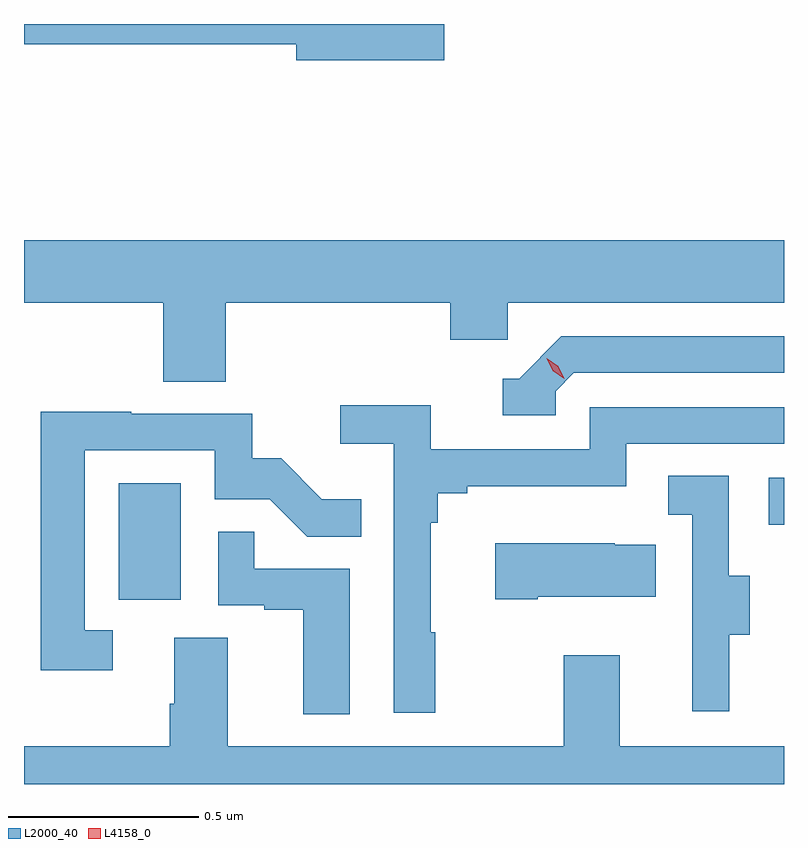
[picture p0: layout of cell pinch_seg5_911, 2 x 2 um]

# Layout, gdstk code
import gdstk
lib = gdstk.Library(unit=1e-6, precision=1e-09)
def R(c, l, rs):  # rectangles x0, y0, x1, y1
    for r in rs: c.add(gdstk.rectangle(r[:2], r[2:], *l))
def P(c, l, *ps):  # polygons
    for p in ps: c.add(gdstk.Polygon(p, *l))
L2000_40 = (2000, 40)
L4158_0 = (4158, 0)

pinch_seg5_911 = lib.new_cell('pinch_seg5_911')
R(pinch_seg5_911, L2000_40, [(881.714,878.622,881.878,878.929), (883.425,878.819,883.465,878.943)])
P(pinch_seg5_911, L2000_40, [(882.571,880.137),(881.465,880.137),(881.465,880.084),(882.182,880.084),(882.182,880.042),(882.571,880.042)],
  [(881.996,879.404),(882.587,879.404),(882.587,879.306),(882.738,879.306),(882.738,879.404),(883.465,879.404),(883.465,879.568),(881.465,879.568),(881.465,879.404),(881.831,879.404),(881.831,879.196),(881.996,879.196)],
  [(882.864,879.171),(882.912,879.219),(883.465,879.219),(883.465,879.315),(882.879,879.315),(882.768,879.204),(882.725,879.204),(882.725,879.108),(882.864,879.108)],
  [(882.547,878.537),(882.535,878.537),(882.535,878.825),(882.554,878.825),(882.554,878.902),(882.631,878.902),(882.631,878.921),(883.05,878.921),(883.05,879.033),(883.465,879.033),(883.465,879.129),(882.954,879.129),(882.954,879.018),(882.536,879.018),(882.536,879.134),(882.297,879.134),(882.297,879.032),(882.438,879.032),(882.438,878.325),(882.547,878.325)],
  [(881.698,878.541),(881.625,878.541),(881.625,879.015),(881.967,879.015),(881.967,878.886),(882.112,878.886),(882.21,878.788),(882.353,878.788),(882.353,878.887),(882.249,878.887),(882.142,878.994),(882.066,878.994),(882.066,879.111),(881.747,879.111),(881.747,879.116),(881.509,879.116),(881.509,878.436),(881.698,878.436)],
  [(883.321,878.53),(883.375,878.53),(883.375,878.685),(883.32,878.685),(883.32,878.948),(883.161,878.948),(883.161,878.845),(883.224,878.845),(883.224,878.541),(883.223,878.541),(883.223,878.328),(883.321,878.328)],
  [(882.322,878.703),(882.071,878.703),(882.071,878.801),(881.976,878.801),(881.976,878.607),(882.097,878.607),(882.097,878.595),(882.2,878.595),(882.2,878.321),(882.322,878.321)],
  [(882.817,878.63),(883.127,878.63),(883.127,878.767),(883.019,878.767),(883.019,878.77),(882.705,878.77),(882.705,878.623),(882.817,878.623)],
  [(883.465,878.236),(883.033,878.236),(883.033,878.476),(882.886,878.476),(882.886,878.236),(882.001,878.236),(882.001,878.522),(881.861,878.522),(881.861,878.348),(881.849,878.348),(881.849,878.236),(881.465,878.236),(881.465,878.137),(883.465,878.137)])
P(pinch_seg5_911, L4158_0, [(882.887,879.204),(882.856,879.224),(882.84,879.256),(882.84,879.257),(882.84,879.257),(882.871,879.237),(882.887,879.204),(882.887,879.204)])

lib.write_gds('pinch_seg5_911.gds')
